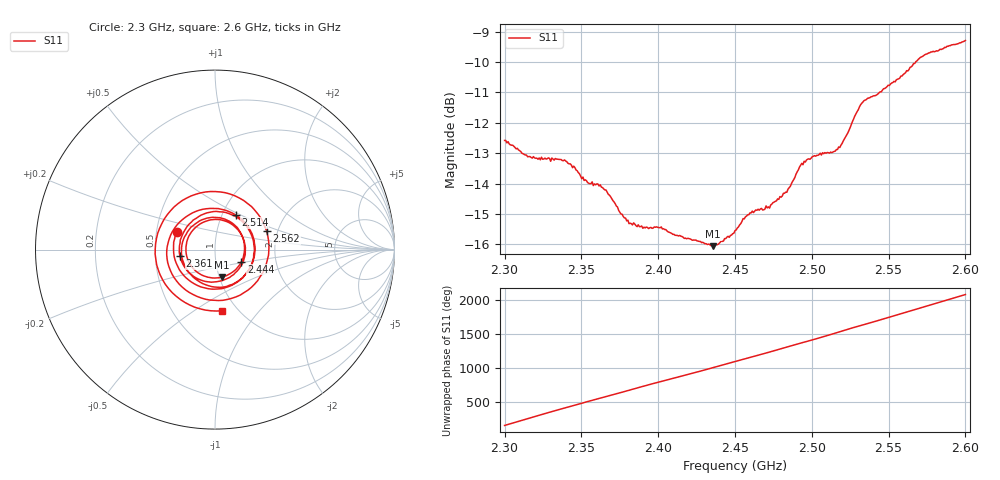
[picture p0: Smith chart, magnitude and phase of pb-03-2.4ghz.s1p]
! NanoVNA-App
! Date: 2026-05-22 17:19:47
! Start: 2.3GHz Stop: 2.6GHz Points: 401
! S-Parameter data: F S11
# Hz S RI R 50
!  Frequency  S11_Real  S11_Imag
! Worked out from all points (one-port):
!   401 points, 2.3 GHz to 2.6 GHz, reference 50 ohm
!   lowest |S11| = -16.1 dB at 2.436 GHz (marker M1), VSWR 1.37, Z = 51.4 - j16.1 ohm
!   |S11| at or under -10 dB: start of sweep to 2.568 GHz
!   S11 on the Smith chart (normalised r, x): 2.3 GHz: 0.64, +0.13; 2.361 GHz: 0.67, -0.05; 2.444 GHz: 1.33, -0.18; 2.514 GHz: 1.16, +0.47; 2.562 GHz: 1.75, +0.40; 2.6 GHz: 0.84, -0.65
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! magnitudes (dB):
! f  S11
! 2.3 GHz  -12.6
! 2.317 GHz  -13.1
! 2.337 GHz  -13.2
! 2.344 GHz  -13.5
! 2.353 GHz  -13.9
! 2.361 GHz  -14.1
! 2.368 GHz  -14.4
! 2.375 GHz  -14.9
! 2.382 GHz  -15.3
! 2.401 GHz  -15.4
! 2.413 GHz  -15.7
! 2.436 GHz  -16.1
! 2.444 GHz  -15.8
! 2.45 GHz  -15.5
! 2.458 GHz  -15.0
! 2.473 GHz  -14.8
! 2.482 GHz  -14.3
! 2.487 GHz  -13.9
! 2.492 GHz  -13.5
! 2.497 GHz  -13.2
! 2.514 GHz  -13.0
! 2.518 GHz  -12.8
! 2.525 GHz  -12.2
! 2.533 GHz  -11.3
! 2.562 GHz  -10.3
! 2.562 GHz  -10.3
! 2.575 GHz  -9.7
! 2.6 GHz  -9.3
